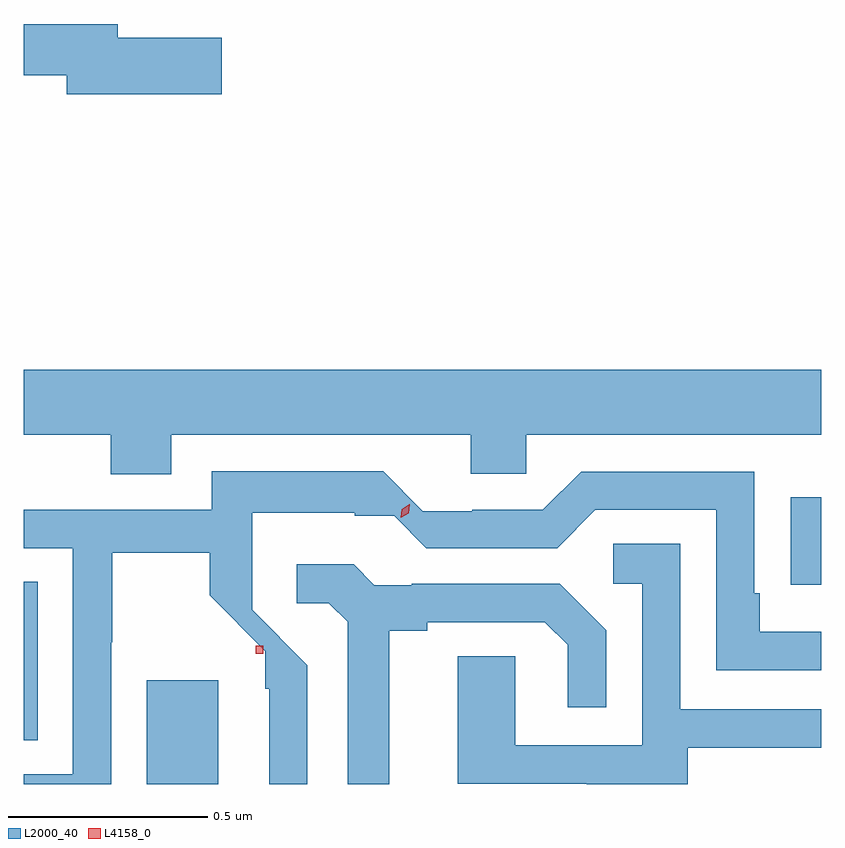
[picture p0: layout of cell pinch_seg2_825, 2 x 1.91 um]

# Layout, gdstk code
import gdstk
lib = gdstk.Library(unit=1e-6, precision=1e-09)
def R(c, l, rs):  # rectangles x0, y0, x1, y1
    for r in rs: c.add(gdstk.rectangle(r[:2], r[2:], *l))
def P(c, l, *ps):  # polygons
    for p in ps: c.add(gdstk.Polygon(p, *l))
L2000_40 = (2000, 40)
L4158_0 = (4158, 0)

pinch_seg2_825 = lib.new_cell('pinch_seg2_825')
R(pinch_seg2_825, L2000_40, [(674.591,596.144,674.77,596.404), (674.283,596.254,674.317,596.651), (676.207,596.644,676.283,596.863)])
P(pinch_seg2_825, L2000_40, [(674.779,598.017),(674.518,598.017),(674.518,598.051),(674.283,598.051),(674.283,597.922),(674.39,597.922),(674.39,597.875),(674.779,597.875)],
  [(674.653,597.02),(675.404,597.02),(675.404,596.922),(675.543,596.922),(675.543,597.02),(676.283,597.02),(676.283,597.184),(674.283,597.184),(674.283,597.02),(674.501,597.02),(674.501,596.921),(674.653,596.921)],
  [(674.502,596.5),(674.505,596.5),(674.505,596.724),(674.749,596.724),(674.749,596.617),(674.889,596.477),(674.889,596.383),(674.898,596.383),(674.898,596.144),(674.994,596.144),(674.994,596.442),(674.856,596.581),(674.856,596.825),(675.113,596.825),(675.113,596.817),(675.212,596.817),(675.293,596.736),(675.621,596.736),(675.717,596.832),(676.02,596.832),(676.02,596.43),(676.283,596.43),(676.283,596.526),(676.129,596.526),(676.129,596.623),(676.116,596.623),(676.116,596.928),(675.681,596.928),(675.585,596.832),(675.408,596.832),(675.408,596.829),(675.284,596.829),(675.184,596.929),(674.754,596.929),(674.754,596.832),(674.283,596.832),(674.283,596.736),(674.406,596.736),(674.406,596.169),(674.283,596.169),(674.283,596.144),(674.502,596.144)],
  [(675.949,596.235),(676.283,596.235),(676.283,596.331),(675.93,596.331),(675.93,596.747),(675.762,596.747),(675.762,596.646),(675.834,596.646),(675.834,596.241),(675.516,596.241),(675.516,596.465),(675.371,596.465),(675.371,596.145),(675.695,596.145),(675.695,596.144),(675.949,596.144)],
  [(675.199,596.528),(675.295,596.528),(675.295,596.55),(675.59,596.55),(675.647,596.493),(675.647,596.337),(675.744,596.337),(675.744,596.53),(675.628,596.646),(675.256,596.646),(675.256,596.643),(675.162,596.643),(675.11,596.695),(674.967,596.695),(674.967,596.598),(675.048,596.598),(675.095,596.551),(675.095,596.144),(675.199,596.144)])
R(pinch_seg2_825, L4158_0, [(674.864,596.471,674.884,596.491)])
P(pinch_seg2_825, L4158_0, [(675.229,596.812),(675.229,596.812),(675.231,596.834),(675.25,596.846),(675.251,596.846),(675.251,596.846),(675.248,596.823),(675.229,596.812)])

lib.write_gds('pinch_seg2_825.gds')
